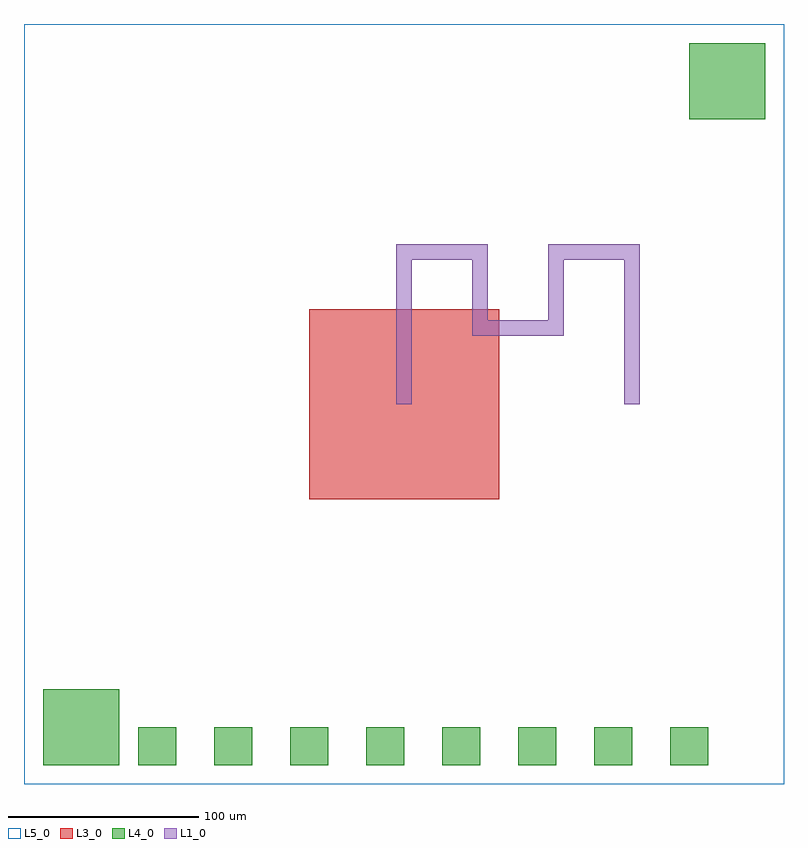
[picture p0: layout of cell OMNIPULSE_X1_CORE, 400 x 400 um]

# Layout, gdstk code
import gdstk
lib = gdstk.Library(unit=1e-6, precision=1e-09)
def R(c, l, rs):  # rectangles x0, y0, x1, y1
    for r in rs: c.add(gdstk.rectangle(r[:2], r[2:], *l))
def A(c, l, x, y, w, h, nx, ny, dx, dy):  # array of equal rectangles
    R(c, l, [(x+i*dx, y+j*dy, x+i*dx+w, y+j*dy+h) for i in range(nx) for j in range(ny)])
def P(c, l, *ps):  # polygons
    for p in ps: c.add(gdstk.Polygon(p, *l))
L1_0 = (1, 0)
L3_0 = (3, 0)
L4_0 = (4, 0)
L5_0 = (5, 0)

omnipulse_x1_core = lib.new_cell('OMNIPULSE_X1_CORE')
P(omnipulse_x1_core, L1_0, [(-4,0),(4,0),(4,76),(36,76),(36,36),(84,36),(84,76),(116,76),(116,0),(124,0),(124,84),(76,84),(76,44),(44,44),(44,84),(-4,84)])
R(omnipulse_x1_core, L3_0, [(-50,-50,50,50)])
A(omnipulse_x1_core, L4_0, -180, -190, 20, 20, 9, 1, 40, 0)
R(omnipulse_x1_core, L4_0, [(-190,-190,-150,-150), (150,150,190,190)])
R(omnipulse_x1_core, L5_0, [(-200,-200,200,200)])

lib.write_gds('OMNIPULSE_X1_CORE.gds')
